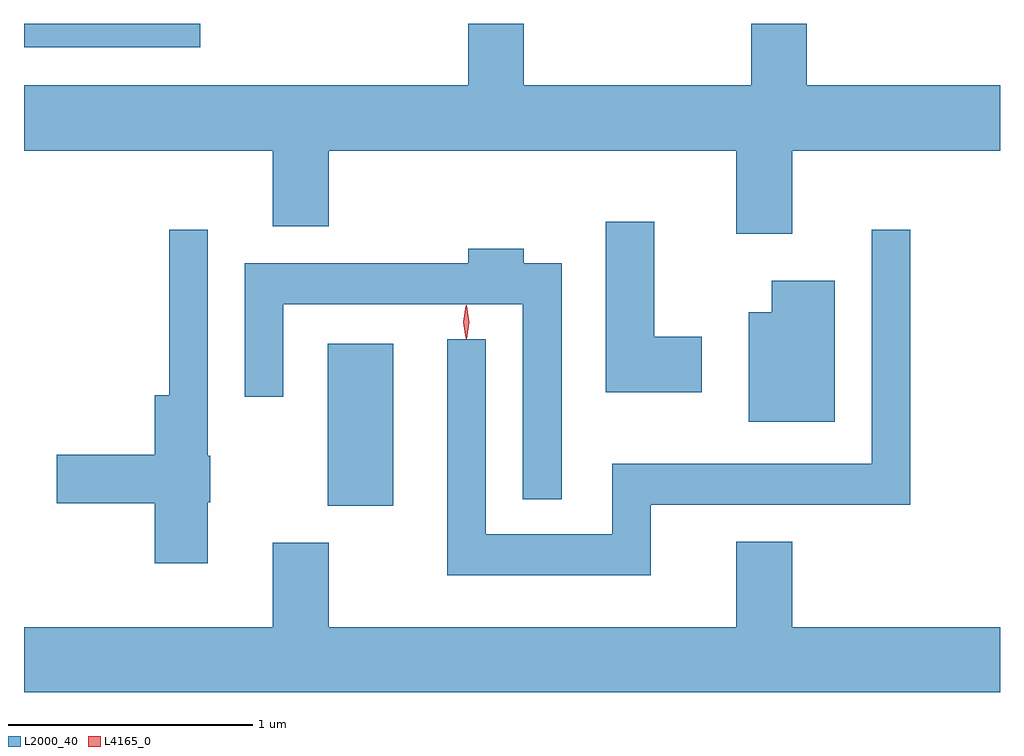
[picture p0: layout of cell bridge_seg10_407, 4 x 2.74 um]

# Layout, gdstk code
import gdstk
lib = gdstk.Library(unit=1e-6, precision=1e-09)
def R(c, l, rs):  # rectangles x0, y0, x1, y1
    for r in rs: c.add(gdstk.rectangle(r[:2], r[2:], *l))
def P(c, l, *ps):  # polygons
    for p in ps: c.add(gdstk.Polygon(p, *l))
L2000_40 = (2000, 40)
L4165_0 = (4165, 0)

bridge_seg10_407 = lib.new_cell('bridge_seg10_407')
R(bridge_seg10_407, L2000_40, [(1441.816,2092.481,1442.084,2093.144), (1440.571,2094.361,1441.294,2094.457)])
P(bridge_seg10_407, L2000_40, [(1443.719,2093.936),(1444.571,2093.936),(1444.571,2094.204),(1443.779,2094.204),(1443.779,2094.457),(1443.551,2094.457),(1443.551,2094.204),(1442.619,2094.204),(1442.619,2094.457),(1442.391,2094.457),(1442.391,2094.204),(1440.571,2094.204),(1440.571,2093.936),(1441.591,2093.936),(1441.591,2093.626),(1441.819,2093.626),(1441.819,2093.936),(1443.491,2093.936),(1443.491,2093.596),(1443.719,2093.596)],
  [(1443.349,2093.174),(1443.154,2093.174),(1443.154,2093.644),(1442.956,2093.644),(1442.956,2092.946),(1443.349,2092.946)],
  [(1443.139,2092.486),(1444.204,2092.486),(1444.204,2093.613),(1444.046,2093.613),(1444.046,2092.654),(1442.981,2092.654),(1442.981,2092.364),(1442.464,2092.364),(1442.464,2093.163),(1442.306,2093.163),(1442.306,2092.196),(1443.139,2092.196)],
  [(1441.324,2092.495),(1441.334,2092.495),(1441.334,2092.685),(1441.324,2092.685),(1441.324,2093.613),(1441.166,2093.613),(1441.166,2092.934),(1441.106,2092.934),(1441.106,2092.689),(1440.706,2092.689),(1440.706,2092.491),(1441.106,2092.491),(1441.106,2092.246),(1441.324,2092.246)],
  [(1442.774,2093.474),(1442.619,2093.474),(1442.619,2093.534),(1442.391,2093.534),(1442.391,2093.474),(1441.476,2093.474),(1441.476,2092.928),(1441.634,2092.928),(1441.634,2093.306),(1442.616,2093.306),(1442.616,2092.508),(1442.774,2092.508)],
  [(1443.894,2093.404),(1443.636,2093.404),(1443.636,2093.274),(1443.541,2093.274),(1443.541,2092.826),(1443.894,2092.826)],
  [(1441.591,2092.329),(1441.591,2091.984),(1440.571,2091.984),(1440.571,2091.716),(1444.571,2091.716),(1444.571,2091.984),(1443.719,2091.984),(1443.719,2092.334),(1443.491,2092.334),(1443.491,2091.984),(1441.819,2091.984),(1441.819,2092.329)])
P(bridge_seg10_407, L4165_0, [(1442.384,2093.164),(1442.375,2093.233),(1442.384,2093.302),(1442.385,2093.303),(1442.386,2093.302),(1442.395,2093.233),(1442.386,2093.164),(1442.385,2093.164)],
  [(1442.382,2093.167),(1442.382,2093.167),(1442.372,2093.234),(1442.382,2093.3),(1442.382,2093.3),(1442.383,2093.3),(1442.392,2093.234),(1442.383,2093.167)])

lib.write_gds('bridge_seg10_407.gds')
